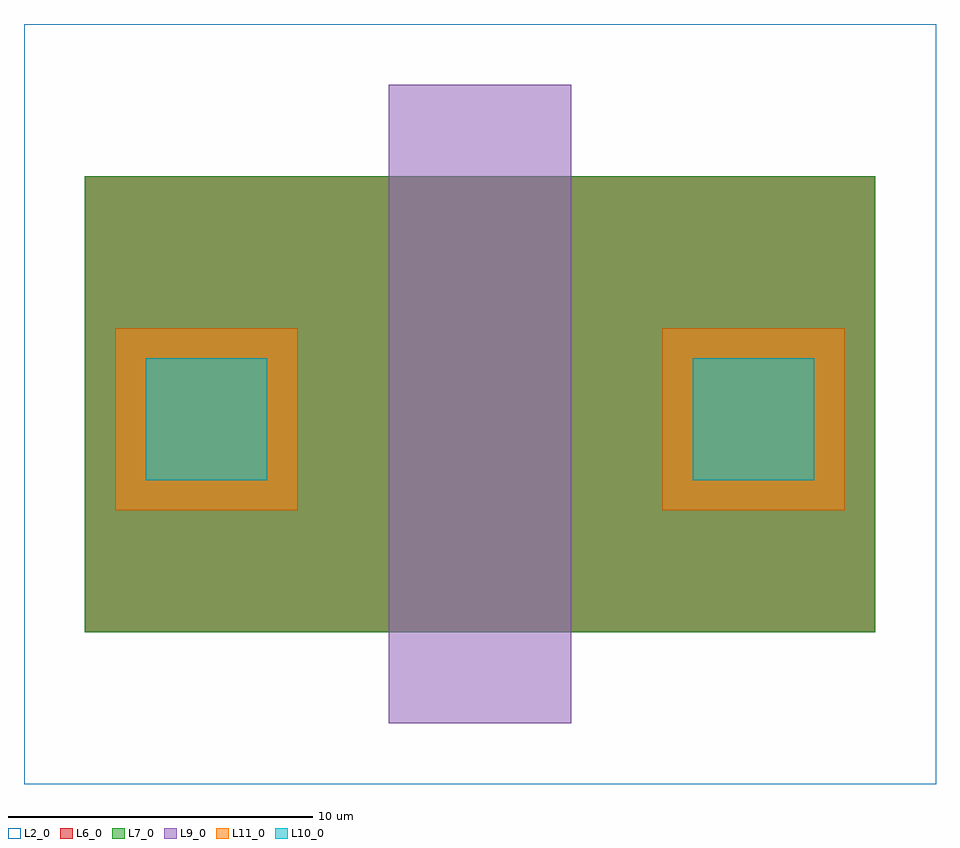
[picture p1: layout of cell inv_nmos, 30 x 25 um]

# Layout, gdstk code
import gdstk
lib = gdstk.Library(unit=1e-6, precision=1e-09)
def R(c, l, rs):  # rectangles x0, y0, x1, y1
    for r in rs: c.add(gdstk.rectangle(r[:2], r[2:], *l))
L2_0 = (2, 0)
L6_0 = (6, 0)
L7_0 = (7, 0)
L9_0 = (9, 0)
L10_0 = (10, 0)
L11_0 = (11, 0)

inv_nmos = lib.new_cell('inv_nmos')
R(inv_nmos, L2_0, [(0,0,30,25)])
R(inv_nmos, L6_0, [(2,5,28,20)])
R(inv_nmos, L7_0, [(2,5,28,20)])
R(inv_nmos, L9_0, [(12,2,18,23)])
R(inv_nmos, L10_0, [(4,10,8,14), (22,10,26,14)])
R(inv_nmos, L11_0, [(3,9,9,15), (21,9,27,15)])

lib.write_gds('inv_nmos.gds')
